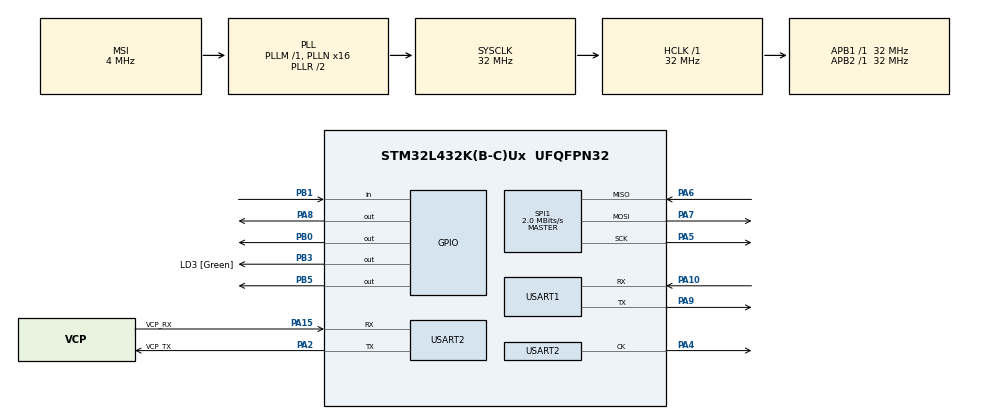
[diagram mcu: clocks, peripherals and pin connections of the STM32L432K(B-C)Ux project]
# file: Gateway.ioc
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Mcu.Family=STM32L4
Mcu.Name=STM32L432K(B-C)Ux
Mcu.Package=UFQFPN32
NVIC.PriorityGroup=NVIC_PRIORITYGROUP_4
NVIC.SPI1_IRQn=true\:0\:0\:false\:false\:true\:true\:true\:true
NVIC.USART1_IRQn=true\:0\:0\:false\:false\:true\:true\:true\:true
NVIC.USART2_IRQn=true\:0\:0\:false\:false\:true\:true\:true\:true
PA0.GPIO_Label=MCO [High speed clock in]
PA0.Mode=HSE-External-Clock-Source-for-LittleOrca
PA0.Signal=RCC_CK_IN
PA10.Mode=Asynchronous
PA10.Signal=USART1_RX
PA13\ (JTMS-SWDIO).GPIO_Label=SWDIO
PA13\ (JTMS-SWDIO).Mode=Serial_Wire
PA13\ (JTMS-SWDIO).Signal=SYS_JTMS-SWDIO
PA14\ (JTCK-SWCLK).GPIO_Label=SWCLK
PA14\ (JTCK-SWCLK).Mode=Serial_Wire
PA14\ (JTCK-SWCLK).Signal=SYS_JTCK-SWCLK
PA15\ (JTDI).GPIO_Label=VCP_RX
PA15\ (JTDI).Mode=Synchronous
PA15\ (JTDI).Signal=USART2_RX
PA2.GPIO_Label=VCP_TX
PA2.Mode=Synchronous
PA2.Signal=USART2_TX
PA4.Mode=Synchronous
PA4.Signal=USART2_CK
PA5.Mode=Full_Duplex_Master
PA5.Signal=SPI1_SCK
PA6.Mode=Full_Duplex_Master
PA6.Signal=SPI1_MISO
PA7.Mode=Full_Duplex_Master
PA7.Signal=SPI1_MOSI
PA8.Signal=GPIO_Output
PA9.Mode=Asynchronous
PA9.Signal=USART1_TX
PB0.PinState=GPIO_PIN_SET
PB0.Signal=GPIO_Output
PB1.Signal=GPIO_Input
PB3\ (JTDO-TRACESWO).GPIO_Label=LD3 [Green]
PB3\ (JTDO-TRACESWO).Signal=GPIO_Output
PB5.Signal=GPIO_Output
PC14-OSC32_IN\ (PC14).Mode=LSE-External-Oscillator
PC14-OSC32_IN\ (PC14).Signal=RCC_OSC32_IN
PC15-OSC32_OUT\ (PC15).Mode=LSE-External-Oscillator
PC15-OSC32_OUT\ (PC15).Signal=RCC_OSC32_OUT
ProjectManager.HeapSize=0x200
ProjectManager.StackSize=0x400
ProjectManager.TargetToolchain=STM32CubeIDE
RCC.AHBFreq_Value=32000000
RCC.APB1Freq_Value=32000000
RCC.APB1TimFreq_Value=32000000
RCC.APB2Freq_Value=32000000
RCC.APB2TimFreq_Value=32000000
RCC.CortexFreq_Value=32000000
RCC.HCLKFreq_Value=32000000
RCC.HSE_VALUE=8000000
RCC.HSI16_VALUE=16000000
RCC.HSI48_VALUE=48000000
RCC.HSI_VALUE=16000000
RCC.MSI_VALUE=4000000
RCC.PLLMUL=RCC_PLLMUL_4
RCC.PLLN=16
RCC.SYSCLKFreq_VALUE=32000000
RCC.SYSCLKSource=RCC_SYSCLKSOURCE_PLLCLK
RCC.VCOOutputFreq_Value=64000000
SPI1.BaudRatePrescaler=SPI_BAUDRATEPRESCALER_16
SPI1.CalculateBaudRate=2.0 MBits/s
SPI1.DataSize=SPI_DATASIZE_8BIT
SPI1.Direction=SPI_DIRECTION_2LINES
SPI1.Mode=SPI_MODE_MASTER
SPI1.VirtualType=VM_MASTER
USART1.VirtualMode-Asynchronous=VM_ASYNC
USART2.VirtualMode-Synchronous=VM_SYNC
board=NUCLEO-L432KC

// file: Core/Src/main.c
/* USER CODE BEGIN Header */
/**
  ******************************************************************************
  * @file           : main.c
  * @brief          : Main program body
  *
  * Author: Ashley Kanyatte
  *
  * Description:
  * This file contains the main program body for a LoRa-enabled gateway. The gateway
  * supports LoRa communication and 4G/LTE communication.
  * This file contains the implementation of receiving sensor data from the end nodes
  * using LoRa and transmitting this data to a Realtime Database for storage and
  * analysis purposes. Also, included is the capability of sending text alerts based
  * on prediction data received.
  ******************************************************************************
  * @attention
  *
  * Copyright (c) 2024 STMicroelectronics.
  * All rights reserved.
  *
  * This software is licensed under terms that can be found in the LICENSE file
  * in the root directory of this software component.
  * If no LICENSE file comes with this software, it is provided AS-IS.
  *
  ******************************************************************************
  */
/* USER CODE END Header */
#include "main.h"

/* USER CODE BEGIN Includes */
#include "gps.h"
#include "http_impl.h"
#include "internet_impl.h"
#include "led.h"
#include "send_data.h"
#include "lora_sx1276.h"
#include "power.h"
#include "packets.h"

/* USER CODE END Includes */

/* USER CODE BEGIN PD */
#define ADDRESS				0x01
#define MAX_BUFFER_SIZE		32

/* USER CODE END PD */

SPI_HandleTypeDef hspi1;

UART_HandleTypeDef huart1;
USART_HandleTypeDef husart2;

/* USER CODE BEGIN PV */
uint8_t res;
lora_sx1276 lora;
uint8_t rx_buffer[MAX_BUFFER_SIZE];

/* USER CODE END PV */

void SystemClock_Config(void);
static void MX_GPIO_Init(void);
static void MX_USART2_Init(void);
static void MX_SPI1_Init(void);
static void MX_USART1_UART_Init(void);

int main(void)
{

  /* MCU Configuration--------------------------------------------------------*/

  /* Reset of all peripherals, Initializes the Flash interface and the Systick. */
  HAL_Init();

  /* Configure the system clock */
  SystemClock_Config();

  /* Initialize all configured peripherals */
  MX_GPIO_Init();
  MX_USART2_Init();
  MX_SPI1_Init();
  MX_USART1_UART_Init();
  /* USER CODE BEGIN 2 */

  // Reset Lora module

  HAL_GPIO_WritePin(GPIOB, GPIO_PIN_5, GPIO_PIN_RESET);
  HAL_Delay(10);
  HAL_GPIO_WritePin(GPIOB, GPIO_PIN_5, GPIO_PIN_SET);
  HAL_Delay(100);

  // Initialize LoRa
  uint8_t init = lora_init(&lora, &hspi1, GPIOB, GPIO_PIN_0, LORA_BASE_FREQUENCY_US);
  if (init == LORA_OK)
  {
	  // LoRa initialization successful
	  HAL_GPIO_WritePin(GPIOB, LD3_Pin, GPIO_PIN_SET);
  }
  else
  {
	  HAL_USART_Transmit(&husart2, (uint8_t*) "Failed!\r\n", 20, 100);
  }

  /* USER CODE END 2 */

  /* Infinite loop */
  /* USER CODE BEGIN WHILE */
  while (1)
  {
	  // Set TPL done pin low to supply power to circuit
	  set_done_low();

	  lora_mode_receive_continuous(&lora);
	  uint8_t len = lora_receive_packet_blocking(&lora, rx_buffer, sizeof(rx_buffer), 10000, &res);
	  if (res != LORA_OK)
	  {}
	  buffer[len] = 0;  // null terminate string to print it
	  if (len > 0)
	  {
		  // Handle received packet
		  handle_received_packet(&lora, rx_buffer, len, ADDRESS);
	  }

	  HAL_Delay(100000);

	  // Indicate tasks are done and cut off power to circuit
	  set_done_high();

    /* USER CODE END WHILE */

  }
}

void SystemClock_Config(void)
{
  RCC_OscInitTypeDef RCC_OscInitStruct = {0};
  RCC_ClkInitTypeDef RCC_ClkInitStruct = {0};

  /** Configure the main internal regulator output voltage
  */
  if (HAL_PWREx_ControlVoltageScaling(PWR_REGULATOR_VOLTAGE_SCALE1) != HAL_OK)
  {
    Error_Handler();
  }

  /** Configure LSE Drive Capability
  */
  HAL_PWR_EnableBkUpAccess();
  __HAL_RCC_LSEDRIVE_CONFIG(RCC_LSEDRIVE_LOW);

  /** Initializes the RCC Oscillators according to the specified parameters
  * in the RCC_OscInitTypeDef structure.
  */
  RCC_OscInitStruct.OscillatorType = RCC_OSCILLATORTYPE_LSE|RCC_OSCILLATORTYPE_MSI;
  RCC_OscInitStruct.LSEState = RCC_LSE_ON;
  RCC_OscInitStruct.MSIState = RCC_MSI_ON;
  RCC_OscInitStruct.MSICalibrationValue = 0;
  RCC_OscInitStruct.MSIClockRange = RCC_MSIRANGE_6;
  RCC_OscInitStruct.PLL.PLLState = RCC_PLL_ON;
  RCC_OscInitStruct.PLL.PLLSource = RCC_PLLSOURCE_MSI;
  RCC_OscInitStruct.PLL.PLLM = 1;
  RCC_OscInitStruct.PLL.PLLN = 16;
  RCC_OscInitStruct.PLL.PLLP = RCC_PLLP_DIV7;
  RCC_OscInitStruct.PLL.PLLQ = RCC_PLLQ_DIV2;
  RCC_OscInitStruct.PLL.PLLR = RCC_PLLR_DIV2;
  if (HAL_RCC_OscConfig(&RCC_OscInitStruct) != HAL_OK)
  {
    Error_Handler();
  }

  /** Initializes the CPU, AHB and APB buses clocks
  */
  RCC_ClkInitStruct.ClockType = RCC_CLOCKTYPE_HCLK|RCC_CLOCKTYPE_SYSCLK
                              |RCC_CLOCKTYPE_PCLK1|RCC_CLOCKTYPE_PCLK2;
  RCC_ClkInitStruct.SYSCLKSource = RCC_SYSCLKSOURCE_PLLCLK;
  RCC_ClkInitStruct.AHBCLKDivider = RCC_SYSCLK_DIV1;
  RCC_ClkInitStruct.APB1CLKDivider = RCC_HCLK_DIV1;
  RCC_ClkInitStruct.APB2CLKDivider = RCC_HCLK_DIV1;

  if (HAL_RCC_ClockConfig(&RCC_ClkInitStruct, FLASH_LATENCY_1) != HAL_OK)
  {
    Error_Handler();
  }

  /** Enable MSI Auto calibration
  */
  HAL_RCCEx_EnableMSIPLLMode();
}

static void MX_SPI1_Init(void)
{

  /* SPI1 parameter configuration*/
  hspi1.Instance = SPI1;
  hspi1.Init.Mode = SPI_MODE_MASTER;
  hspi1.Init.Direction = SPI_DIRECTION_2LINES;
  hspi1.Init.DataSize = SPI_DATASIZE_8BIT;
  hspi1.Init.CLKPolarity = SPI_POLARITY_LOW;
  hspi1.Init.CLKPhase = SPI_PHASE_1EDGE;
  hspi1.Init.NSS = SPI_NSS_SOFT;
  hspi1.Init.BaudRatePrescaler = SPI_BAUDRATEPRESCALER_16;
  hspi1.Init.FirstBit = SPI_FIRSTBIT_MSB;
  hspi1.Init.TIMode = SPI_TIMODE_DISABLE;
  hspi1.Init.CRCCalculation = SPI_CRCCALCULATION_DISABLE;
  hspi1.Init.CRCPolynomial = 7;
  hspi1.Init.CRCLength = SPI_CRC_LENGTH_DATASIZE;
  hspi1.Init.NSSPMode = SPI_NSS_PULSE_ENABLE;
  if (HAL_SPI_Init(&hspi1) != HAL_OK)
  {
    Error_Handler();
  }

}

static void MX_USART1_UART_Init(void)
{

  huart1.Instance = USART1;
  huart1.Init.BaudRate = 115200;
  huart1.Init.WordLength = UART_WORDLENGTH_8B;
  huart1.Init.StopBits = UART_STOPBITS_1;
  huart1.Init.Parity = UART_PARITY_NONE;
  huart1.Init.Mode = UART_MODE_TX_RX;
  huart1.Init.HwFlowCtl = UART_HWCONTROL_NONE;
  huart1.Init.OverSampling = UART_OVERSAMPLING_16;
  huart1.Init.OneBitSampling = UART_ONE_BIT_SAMPLE_DISABLE;
  huart1.AdvancedInit.AdvFeatureInit = UART_ADVFEATURE_NO_INIT;
  if (HAL_UART_Init(&huart1) != HAL_OK)
  {
    Error_Handler();
  }

}

static void MX_USART2_Init(void)
{

  husart2.Instance = USART2;
  husart2.Init.BaudRate = 115200;
  husart2.Init.WordLength = USART_WORDLENGTH_8B;
  husart2.Init.StopBits = USART_STOPBITS_1;
  husart2.Init.Parity = USART_PARITY_NONE;
  husart2.Init.Mode = USART_MODE_TX_RX;
  husart2.Init.CLKPolarity = USART_POLARITY_LOW;
  husart2.Init.CLKPhase = USART_PHASE_1EDGE;
  husart2.Init.CLKLastBit = USART_LASTBIT_DISABLE;
  if (HAL_USART_Init(&husart2) != HAL_OK)
  {
    Error_Handler();
  }

}

static void MX_GPIO_Init(void)
{
  GPIO_InitTypeDef GPIO_InitStruct = {0};

  /* GPIO Ports Clock Enable */
  __HAL_RCC_GPIOC_CLK_ENABLE();
  __HAL_RCC_GPIOA_CLK_ENABLE();
  __HAL_RCC_GPIOB_CLK_ENABLE();

  /*Configure GPIO pin Output Level */
  HAL_GPIO_WritePin(GPIOB, GPIO_PIN_0, GPIO_PIN_SET);

  /*Configure GPIO pin Output Level */
  HAL_GPIO_WritePin(GPIOA, GPIO_PIN_8, GPIO_PIN_RESET);

  /*Configure GPIO pin Output Level */
  HAL_GPIO_WritePin(GPIOB, LD3_Pin|GPIO_PIN_5, GPIO_PIN_RESET);

  /*Configure GPIO pins : PB0 LD3_Pin PB5 */
  GPIO_InitStruct.Pin = GPIO_PIN_0|LD3_Pin|GPIO_PIN_5;
  GPIO_InitStruct.Mode = GPIO_MODE_OUTPUT_PP;
  GPIO_InitStruct.Pull = GPIO_NOPULL;
  GPIO_InitStruct.Speed = GPIO_SPEED_FREQ_LOW;
  HAL_GPIO_Init(GPIOB, &GPIO_InitStruct);

  /*Configure GPIO pin : PB1 */
  GPIO_InitStruct.Pin = GPIO_PIN_1;
  GPIO_InitStruct.Mode = GPIO_MODE_INPUT;
  GPIO_InitStruct.Pull = GPIO_NOPULL;
  HAL_GPIO_Init(GPIOB, &GPIO_InitStruct);

  /*Configure GPIO pin : PA8 */
  GPIO_InitStruct.Pin = GPIO_PIN_8;
  GPIO_InitStruct.Mode = GPIO_MODE_OUTPUT_PP;
  GPIO_InitStruct.Pull = GPIO_NOPULL;
  GPIO_InitStruct.Speed = GPIO_SPEED_FREQ_LOW;
  HAL_GPIO_Init(GPIOA, &GPIO_InitStruct);

}

void Error_Handler(void)
{
  __disable_irq();
  while (1)
  {
  }
}
